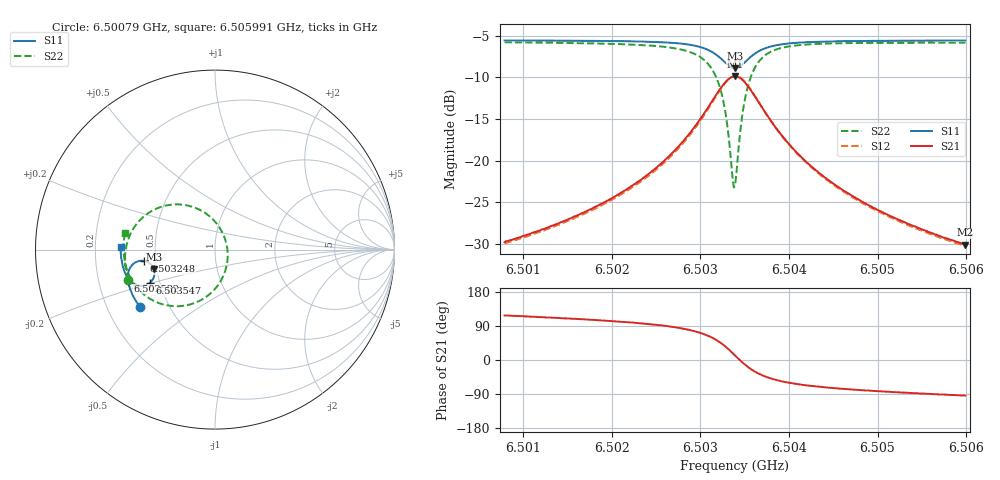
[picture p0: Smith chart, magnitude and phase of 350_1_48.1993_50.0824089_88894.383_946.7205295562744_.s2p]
#  HZ  S  RI  R  50.00
! Rohde & Schwarz Vector Network Analyzer
! Rohde-Schwarz,ZNB20-2Port,1311601062101988,3.16
! Created: UTC 3/20/2024, 11:51:45 AM
! freq[Hz]  re:S11  im:S11  re:S21  im:S21  re:S12  im:S12  re:S22  im:S22
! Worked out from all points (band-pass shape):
!   401 points, 6.50079 GHz to 6.505991 GHz, reference 50 ohm
!   highest |S21| = -9.88 dB at 6.503391 GHz (marker M1); lowest = -30.1 dB at 6.505991 GHz (marker M2)
!   |S21| within 3 dB of the highest: 6.503131 GHz to 6.50365 GHz (519.4 kHz wide, 0.00799 % of centre)
!   lowest |S11| = -8.9 dB at 6.503391 GHz (marker M3), VSWR 2.11, Z = 24.1 - j6.11 ohm
!   |S11| at or under -10 dB: nowhere
!   |S22| runs from -23.2 to -5.8 dB; largest |S21 - S12| = 0.011
!   S11 on the Smith chart (normalised r, x): 6.50079 GHz: 0.34, -0.30; 6.502532 GHz: 0.33, -0.15; 6.503248 GHz: 0.43, -0.06; 6.503547 GHz: 0.44, -0.20; 6.505991 GHz: 0.31, +0.01
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6.50079e9  -0.4189 -0.319  -0.015 0.0286  -0.0134 0.029  -0.485 -0.1685
6.5016612e9  -0.4573 -0.256  -0.0146 0.046  -0.0123 0.0456  -0.5007 -0.0786
6.5021424e9  -0.475 -0.2143  -0.0119 0.0648  -0.00887 0.0638  -0.4993 -0.0126
6.5025325e9  -0.4849 -0.1724  -0.00338 0.0935  0.000156 0.0912  -0.4815 0.0623
6.5027926e9  -0.4846 -0.1357  0.0149 0.1275  0.0188 0.1236  -0.443 0.1346
6.5029746e9  -0.4736 -0.1025  0.0489 0.1632  0.0522 0.1577  -0.3762 0.2001
6.5031437e9  -0.4397 -0.0695  0.1249 0.1963  0.1262 0.1898  -0.2367 0.251
6.5032477e9  -0.398 -0.0623  0.2088 0.1878  0.2091 0.1825  -0.0909 0.2245
6.5032997e9  -0.3728 -0.0707  0.2563 0.1606  0.2572 0.1559  -0.0118 0.1685
6.5033647e9  -0.3466 -0.0963  0.3032 0.0986  0.3057 0.0935  0.059 0.0491
6.5033907e9  -0.3404 -0.1104  0.3135 0.0672  0.3165 0.0613  0.07 -0.00923
6.5034037e9  -0.3384 -0.118  0.3161 0.0507  0.3194 0.0443  0.0707 -0.0392
6.5034557e9  -0.3393 -0.1482  0.3109 -0.0135  0.3136 -0.0222  0.0434 -0.1531
6.5034818e9  -0.3442 -0.1618  0.3 -0.0418  0.3018 -0.0518  0.0146 -0.201
6.5035468e9  -0.3649 -0.1871  0.2583 -0.095  0.2571 -0.1058  -0.079 -0.2819
6.5036508e9  -0.4036 -0.2017  0.1854 -0.1306  0.1803 -0.1397  -0.2252 -0.3152
6.5038199e9  -0.4488 -0.1919  0.1059 -0.1279  0.0991 -0.1327  -0.3686 -0.2699
6.5040019e9  -0.4758 -0.1705  0.0625 -0.1087  0.0565 -0.1108  -0.4392 -0.2065
6.504262e9  -0.4963 -0.1404  0.0331 -0.0852  0.0287 -0.0856  -0.4816 -0.1357
6.5046521e9  -0.5118 -0.1005  0.0146 -0.0626  0.0113 -0.0622  -0.5038 -0.0614
6.5051332e9  -0.5212 -0.0566  0.00504 -0.0466  0.00261 -0.0458  -0.5095 0.00425
6.5059915e9  -0.5259 0.0157  -0.00214 -0.0312  -0.0034 -0.0304  -0.5013 0.0931
